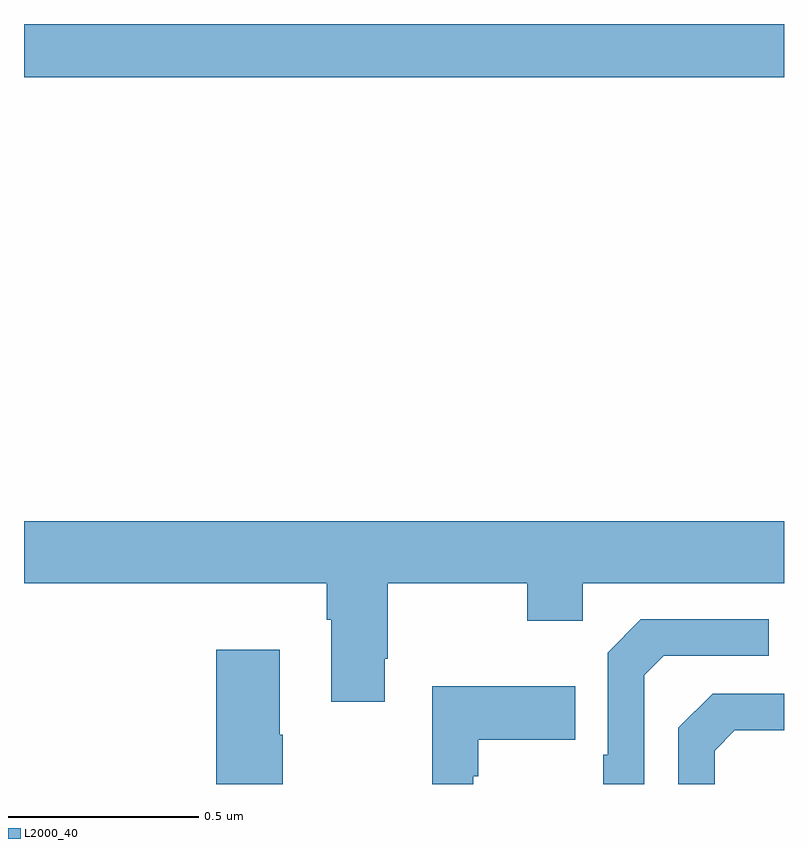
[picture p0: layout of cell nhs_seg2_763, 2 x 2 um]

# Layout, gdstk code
import gdstk
lib = gdstk.Library(unit=1e-6, precision=1e-09)
def R(c, l, rs):  # rectangles x0, y0, x1, y1
    for r in rs: c.add(gdstk.rectangle(r[:2], r[2:], *l))
def P(c, l, *ps):  # polygons
    for p in ps: c.add(gdstk.Polygon(p, *l))
L2000_40 = (2000, 40)

nhs_seg2_763 = lib.new_cell('nhs_seg2_763')
R(nhs_seg2_763, L2000_40, [(120,623.66,122,623.8)])
P(nhs_seg2_763, L2000_40, [(120.949,622.129),(120.957,622.129),(120.957,622.328),(121.324,622.328),(121.324,622.229),(121.47,622.229),(121.47,622.328),(122,622.328),(122,622.492),(120,622.492),(120,622.328),(120.797,622.328),(120.797,622.232),(120.809,622.232),(120.809,622.017),(120.949,622.017)],
  [(121.632,622.086),(121.683,622.137),(121.96,622.137),(121.96,622.233),(121.623,622.233),(121.536,622.146),(121.536,621.877),(121.524,621.877),(121.524,621.8),(121.632,621.8)],
  [(120.681,621.929),(120.673,621.929),(120.673,622.153),(120.506,622.153),(120.506,621.8),(120.681,621.8)],
  [(121.182,621.821),(121.195,621.821),(121.195,621.917),(121.451,621.917),(121.451,622.057),(121.074,622.057),(121.074,621.8),(121.182,621.8)],
  [(121.818,621.888),(121.871,621.941),(122,621.941),(122,622.038),(121.812,622.038),(121.722,621.948),(121.722,621.8),(121.818,621.8)])

lib.write_gds('nhs_seg2_763.gds')
